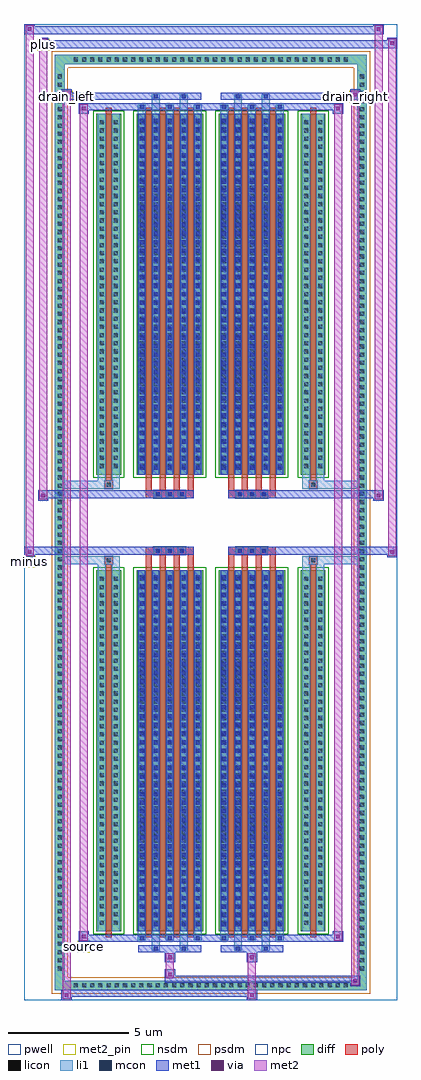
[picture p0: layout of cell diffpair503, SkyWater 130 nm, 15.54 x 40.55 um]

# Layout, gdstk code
import gdstk
lib = gdstk.Library(unit=1e-6, precision=5e-09)
def R(c, l, rs):  # rectangles x0, y0, x1, y1
    for r in rs: c.add(gdstk.rectangle(r[:2], r[2:], *l))
def A(c, l, x, y, w, h, nx, ny, dx, dy):  # array of equal rectangles
    R(c, l, [(x+i*dx, y+j*dy, x+i*dx+w, y+j*dy+h) for i in range(nx) for j in range(ny)])
def P(c, l, *ps):  # polygons
    for p in ps: c.add(gdstk.Polygon(p, *l))
pwell = (64, 44)
diff = (65, 20)
poly = (66, 20)
licon = (66, 44)
li1 = (67, 20)
mcon = (67, 44)
met1 = (68, 20)
via = (68, 44)
met2_pin = (69, 16)
met2 = (69, 20)
nsdm = (93, 44)
psdm = (94, 20)
npc = (95, 20)

diffpair503 = lib.new_cell('diffpair503')
R(diffpair503, pwell, [(-7.75,-19.84,7.75,20.71), (-5.07,-18.03,-0.01,-0.805), (0.01,-18.03,5.07,-0.805), (-5.07,0.805,-0.01,18.03), (0.01,0.805,5.07,18.03)])
A(diffpair503, diff, -5.815, -19.44, 0.41, 0.41, 34, 2, 0.34, 38.47)
A(diffpair503, diff, -6.48, -18.735, 0.41, 0.41, 1, 110, 0, 0.34)
A(diffpair503, diff, 6.07, -18.735, 0.41, 0.41, 1, 110, 0, 0.34)
R(diffpair503, diff, [(-5.815,-19.44,5.815,-19.03), (-6.48,-18.735,-6.07,18.735), (6.07,-18.735,6.48,18.735), (-4.76,-16.985,-3.73,-1.985), (-3.09,-16.985,-0.32,-1.985), (0.32,-16.985,3.09,-1.985), (3.73,-16.985,4.76,-1.985), (-4.76,1.985,-3.73,16.985), (-3.09,1.985,-0.32,16.985), (0.32,1.985,3.09,16.985), (3.73,1.985,4.76,16.985), (-5.815,19.03,5.815,19.44)])
P(diffpair503, diff, [(6.48,19.44),(-6.48,19.44),(-6.48,-19.03),(-6.07,-19.03),(-6.07,19.03),(6.07,19.03),(6.07,-19.03),(-6.07,-19.03),(-6.48,-19.03),(-6.48,-19.44),(6.48,-19.44)])
A(diffpair503, poly, -2.7, -17.235, 0.25, 15.5, 4, 2, 0.58, 18.97)
A(diffpair503, poly, 0.71, -17.235, 0.25, 15.5, 4, 2, 0.58, 18.97)
A(diffpair503, poly, -2.7, -1.735, 0.25, 0.4, 4, 2, 0.58, 3.07)
A(diffpair503, poly, 0.71, -1.735, 0.25, 0.4, 4, 2, 0.58, 3.07)
A(diffpair503, poly, -2.37, -1.335, 0.33, 0.33, 3, 2, 0.5, 2.34)
A(diffpair503, poly, 1.04, -1.335, 0.33, 0.33, 3, 2, 0.5, 2.34)
R(diffpair503, poly, [(-4.37,-17.235,-4.12,-1.735), (4.12,-17.235,4.37,-1.735), (-4.41,-1.735,-4.08,-1.405), (-4.41,-1.735,-4.08,-1.405), (4.08,-1.735,4.41,-1.405), (4.08,-1.735,4.41,-1.405), (-2.7,-1.335,-0.71,-1.005), (0.71,-1.335,2.7,-1.005), (-2.7,1.005,-0.71,1.335), (0.71,1.005,2.7,1.335), (-4.41,1.405,-4.08,1.735), (-4.41,1.405,-4.08,1.735), (4.08,1.405,4.41,1.735), (4.08,1.405,4.41,1.735), (-4.37,1.735,-4.12,17.235), (4.12,1.735,4.37,17.235)])
A(diffpair503, licon, -5.695, -19.32, 0.17, 0.17, 34, 2, 0.34, 38.47)
A(diffpair503, licon, -6.36, -18.615, 0.17, 0.17, 1, 110, 0, 0.34)
A(diffpair503, licon, 6.19, -18.615, 0.17, 0.17, 1, 110, 0, 0.34)
A(diffpair503, licon, -4.62, -16.71, 0.17, 0.17, 1, 43, 0, 0.34)
A(diffpair503, licon, -4.04, -16.71, 0.17, 0.17, 1, 43, 0, 0.34)
A(diffpair503, licon, -2.95, -16.71, 0.17, 0.17, 5, 43, 0.58, 0.34)
A(diffpair503, licon, 0.46, -16.71, 0.17, 0.17, 5, 43, 0.58, 0.34)
A(diffpair503, licon, 3.87, -16.71, 0.17, 0.17, 1, 43, 0, 0.34)
A(diffpair503, licon, 4.45, -16.71, 0.17, 0.17, 1, 43, 0, 0.34)
A(diffpair503, licon, -2.29, -1.255, 0.17, 0.17, 3, 2, 0.5, 2.34)
A(diffpair503, licon, 1.12, -1.255, 0.17, 0.17, 3, 2, 0.5, 2.34)
A(diffpair503, licon, -4.62, 2.26, 0.17, 0.17, 1, 43, 0, 0.34)
A(diffpair503, licon, -4.04, 2.26, 0.17, 0.17, 1, 43, 0, 0.34)
A(diffpair503, licon, -2.95, 2.26, 0.17, 0.17, 5, 43, 0.58, 0.34)
A(diffpair503, licon, 0.46, 2.26, 0.17, 0.17, 5, 43, 0.58, 0.34)
A(diffpair503, licon, 3.87, 2.26, 0.17, 0.17, 1, 43, 0, 0.34)
A(diffpair503, licon, 4.45, 2.26, 0.17, 0.17, 1, 43, 0, 0.34)
R(diffpair503, licon, [(-4.33,-1.655,-4.16,-1.485), (4.16,-1.655,4.33,-1.485), (-4.33,1.485,-4.16,1.655), (4.16,1.485,4.33,1.655)])
A(diffpair503, li1, -5.775, -19.4, 0.33, 0.33, 34, 2, 0.34, 38.47)
A(diffpair503, li1, -6.44, -18.695, 0.33, 0.33, 1, 110, 0, 0.34)
A(diffpair503, li1, 6.11, -18.695, 0.33, 0.33, 1, 110, 0, 0.34)
A(diffpair503, li1, -3.03, -17.36, 0.33, 0.375, 3, 2, 1.16, 34.345)
A(diffpair503, li1, -2.95, -17.36, 0.17, 0.17, 3, 2, 1.16, 34.55)
A(diffpair503, li1, 0.38, -17.36, 0.33, 0.375, 3, 2, 1.16, 34.345)
A(diffpair503, li1, 0.46, -17.36, 0.17, 0.17, 3, 2, 1.16, 34.55)
A(diffpair503, li1, -3.03, -16.985, 0.33, 15, 5, 2, 0.58, 18.97)
A(diffpair503, li1, 0.38, -16.985, 0.33, 15, 5, 2, 0.58, 18.97)
A(diffpair503, li1, -4.7, -16.79, 0.33, 0.33, 1, 43, 0, 0.34)
A(diffpair503, li1, -4.12, -16.79, 0.33, 0.33, 1, 43, 0, 0.34)
A(diffpair503, li1, -3.03, -16.79, 0.33, 0.33, 5, 43, 0.58, 0.34)
A(diffpair503, li1, 0.38, -16.79, 0.33, 0.33, 5, 43, 0.58, 0.34)
A(diffpair503, li1, 3.79, -16.79, 0.33, 0.33, 1, 43, 0, 0.34)
A(diffpair503, li1, 4.37, -16.79, 0.33, 0.33, 1, 43, 0, 0.34)
A(diffpair503, li1, -2.95, -16.77, 0.17, 0.17, 5, 41, 0.58, 0.36)
A(diffpair503, li1, -2.95, -16.77, 0.17, 14.57, 5, 2, 0.58, 18.97)
A(diffpair503, li1, 0.46, -16.77, 0.17, 0.17, 5, 41, 0.58, 0.36)
A(diffpair503, li1, 0.46, -16.77, 0.17, 14.57, 5, 2, 0.58, 18.97)
A(diffpair503, li1, -2.37, -1.335, 0.33, 0.33, 3, 2, 0.5, 2.34)
A(diffpair503, li1, 1.04, -1.335, 0.33, 0.33, 3, 2, 0.5, 2.34)
A(diffpair503, li1, -4.7, 2.18, 0.33, 0.33, 1, 43, 0, 0.34)
A(diffpair503, li1, -4.12, 2.18, 0.33, 0.33, 1, 43, 0, 0.34)
A(diffpair503, li1, -3.03, 2.18, 0.33, 0.33, 5, 43, 0.58, 0.34)
A(diffpair503, li1, 0.38, 2.18, 0.33, 0.33, 5, 43, 0.58, 0.34)
A(diffpair503, li1, 3.79, 2.18, 0.33, 0.33, 1, 43, 0, 0.34)
A(diffpair503, li1, 4.37, 2.18, 0.33, 0.33, 1, 43, 0, 0.34)
A(diffpair503, li1, -2.95, 2.2, 0.17, 0.17, 5, 41, 0.58, 0.36)
A(diffpair503, li1, 0.46, 2.2, 0.17, 0.17, 5, 41, 0.58, 0.36)
R(diffpair503, li1, [(-6.48,-19.44,-6.07,-19.03), (-6.48,-19.44,-6.07,-19.03), (-6.07,-19.44,6.07,-19.03), (6.07,-19.44,6.48,-19.03), (6.07,-19.44,6.48,-19.03), (-6.48,-19.03,-6.07,19.03), (6.07,-19.03,6.48,19.03), (-2.45,-17.79,-2.12,-16.985), (-2.37,-17.79,-2.2,-17.62), (-1.29,-17.79,-0.96,-16.985), (-1.21,-17.79,-1.04,-17.62), (0.96,-17.79,1.29,-16.985), (1.04,-17.79,1.21,-17.62), (2.12,-17.79,2.45,-16.985), (2.2,-17.79,2.37,-17.62), (-4.7,-16.985,-4.37,-1.985), (-4.12,-16.985,-3.79,-1.985), (3.79,-16.985,4.12,-1.985), (4.37,-16.985,4.7,-1.985), (-4.7,-1.985,-4.37,-1.405), (-4.12,-1.985,-3.79,-1.405), (3.79,-1.985,4.12,-1.405), (4.37,-1.985,4.7,-1.405), (-6.48,-1.735,-4.41,-1.405), (-4.7,-1.735,-4.41,-1.405), (-4.41,-1.735,-4.08,-1.405), (-4.08,-1.735,-3.79,-1.405), (3.79,-1.735,4.08,-1.405), (4.08,-1.735,4.41,-1.405), (4.08,-1.735,6.48,-1.405), (4.41,-1.735,4.7,-1.405), (-6.48,1.405,-4.41,1.735), (-4.7,1.405,-4.41,1.735), (-4.7,1.405,-4.37,1.985), (-4.41,1.405,-4.08,1.735), (-4.12,1.405,-3.79,1.985), (-4.08,1.405,-3.79,1.735), (3.79,1.405,4.08,1.735), (3.79,1.405,4.12,1.985), (4.08,1.405,4.41,1.735), (4.08,1.405,6.48,1.735), (4.37,1.405,4.7,1.985), (4.41,1.405,4.7,1.735), (-4.7,1.985,-4.37,16.985), (-4.12,1.985,-3.79,16.985), (3.79,1.985,4.12,16.985), (4.37,1.985,4.7,16.985), (-2.45,16.985,-2.12,17.79), (-1.29,16.985,-0.96,17.79), (0.96,16.985,1.29,17.79), (2.12,16.985,2.45,17.79), (-2.37,17.62,-2.2,17.79), (-1.21,17.62,-1.04,17.79), (1.04,17.62,1.21,17.79), (2.2,17.62,2.37,17.79), (-6.48,19.03,-6.07,19.44), (-6.48,19.03,-6.07,19.44), (-6.07,19.03,6.07,19.44), (6.07,19.03,6.48,19.44), (6.07,19.03,6.48,19.44)])
A(diffpair503, mcon, -2.95, -17.36, 0.17, 0.17, 3, 2, 1.16, 34.55)
A(diffpair503, mcon, 0.46, -17.36, 0.17, 0.17, 3, 2, 1.16, 34.55)
A(diffpair503, mcon, -2.95, -16.77, 0.17, 0.17, 5, 41, 0.58, 0.36)
A(diffpair503, mcon, 0.46, -16.77, 0.17, 0.17, 5, 41, 0.58, 0.36)
A(diffpair503, mcon, -2.29, -1.255, 0.17, 0.17, 3, 2, 0.5, 2.34)
A(diffpair503, mcon, 1.12, -1.255, 0.17, 0.17, 3, 2, 0.5, 2.34)
A(diffpair503, mcon, -2.95, 2.2, 0.17, 0.17, 5, 41, 0.58, 0.36)
A(diffpair503, mcon, 0.46, 2.2, 0.17, 0.17, 5, 41, 0.58, 0.36)
R(diffpair503, mcon, [(-2.37,-17.79,-2.2,-17.62), (-1.21,-17.79,-1.04,-17.62), (1.04,-17.79,1.21,-17.62), (2.2,-17.79,2.37,-17.62), (-2.37,17.62,-2.2,17.79), (-1.21,17.62,-1.04,17.79), (1.04,17.62,1.21,17.79), (2.2,17.62,2.37,17.79)])
A(diffpair503, met1, -3.01, -17.42, 0.29, 0.29, 3, 2, 1.16, 34.55)
A(diffpair503, met1, 0.4, -17.42, 0.29, 0.29, 3, 2, 1.16, 34.55)
A(diffpair503, met1, -3.01, -16.985, 0.29, 15, 5, 2, 0.58, 18.97)
A(diffpair503, met1, 0.4, -16.985, 0.29, 15, 5, 2, 0.58, 18.97)
A(diffpair503, met1, -3.01, -16.83, 0.29, 0.29, 5, 41, 0.58, 0.36)
A(diffpair503, met1, 0.4, -16.83, 0.29, 0.29, 5, 41, 0.58, 0.36)
A(diffpair503, met1, -2.35, -1.315, 0.29, 0.29, 3, 2, 0.5, 2.34)
A(diffpair503, met1, 1.06, -1.315, 0.29, 0.29, 3, 2, 0.5, 2.34)
A(diffpair503, met1, -3.01, 2.14, 0.29, 0.29, 5, 41, 0.58, 0.36)
A(diffpair503, met1, 0.4, 2.14, 0.29, 0.29, 5, 41, 0.58, 0.36)
R(diffpair503, met1, [(-6.21,-19.84,-5.78,-19.41), (1.49,-19.84,1.92,-19.41), (-6.21,-19.7,1.92,-19.41), (5.78,-19.27,6.21,-18.84), (-1.92,-19.13,6.21,-18.84), (-1.92,-18.99,-1.49,-18.56), (-1.92,-18.28,-1.49,-17.85), (1.49,-18.28,1.92,-17.85), (-3.01,-17.85,-0.4,-17.56), (-2.43,-17.85,-2.14,-17.56), (-1.27,-17.85,-0.98,-17.56), (0.4,-17.85,3.01,-17.56), (0.98,-17.85,1.27,-17.56), (2.14,-17.85,2.43,-17.56), (-5.5,-17.42,-5.07,-16.99), (-5.5,-17.42,-3.01,-17.13), (-3.01,-17.42,-0.4,-17.13), (-0.4,-17.42,0.4,-17.13), (0.4,-17.42,3.01,-17.13), (3.01,-17.42,5.5,-17.13), (5.07,-17.42,5.5,-16.99), (-7.75,-1.435,-7.32,-1.005), (7.32,-1.435,7.75,-1.005), (-7.75,-1.335,-0.71,-1.005), (-2.7,-1.335,-0.71,-1.005), (0.71,-1.335,2.7,-1.005), (0.71,-1.335,7.75,-1.005), (-7.18,0.905,-6.75,1.335), (6.75,0.905,7.18,1.335), (-7.18,1.005,-2.7,1.335), (-2.7,1.005,-0.71,1.335), (0.71,1.005,2.7,1.335), (2.7,1.005,7.18,1.335), (-5.5,16.99,-5.07,17.42), (5.07,16.99,5.5,17.42), (-5.5,17.13,-3.01,17.42), (-3.01,17.13,-0.4,17.42), (-0.4,17.13,0.4,17.42), (0.4,17.13,3.01,17.42), (3.01,17.13,5.5,17.42), (-6.21,17.56,-5.78,17.99), (-6.21,17.56,-3.01,17.85), (-3.01,17.56,-0.4,17.85), (-2.43,17.56,-2.14,17.85), (-1.27,17.56,-0.98,17.85), (0.4,17.56,3.01,17.85), (0.98,17.56,1.27,17.85), (2.14,17.56,2.43,17.85), (3.01,17.56,6.21,17.85), (5.78,17.56,6.21,17.99), (-7.18,19.71,-6.75,20.14), (-7.18,19.71,-5.07,20.04), (-5.07,19.71,5.07,20.04), (5.07,19.71,7.75,20.04), (7.32,19.71,7.75,20.14), (-7.75,20.28,-7.32,20.71), (-7.75,20.28,-5.07,20.61), (-5.07,20.28,5.07,20.61), (5.07,20.28,7.18,20.61), (6.75,20.28,7.18,20.71)])
R(diffpair503, via, [(-6.07,-19.7,-5.92,-19.55), (1.63,-19.7,1.78,-19.55), (5.92,-19.13,6.07,-18.98), (-1.78,-18.85,-1.63,-18.7), (-1.78,-18.14,-1.63,-17.99), (1.63,-18.14,1.78,-17.99), (-5.36,-17.28,-5.21,-17.13), (5.21,-17.28,5.36,-17.13), (-7.61,-1.295,-7.46,-1.145), (7.46,-1.295,7.61,-1.145), (-7.04,1.045,-6.89,1.195), (6.89,1.045,7.04,1.195), (-5.36,17.13,-5.21,17.28), (5.21,17.13,5.36,17.28), (-6.07,17.7,-5.92,17.85), (5.92,17.7,6.07,17.85), (-7.04,19.85,-6.89,20), (7.46,19.85,7.61,20), (-7.61,20.42,-7.46,20.57), (6.89,20.42,7.04,20.57)])
R(diffpair503, met2_pin, [(-5.535,-17.87,-5.035,-17.37), (-7.785,-1.885,-7.285,-1.385), (-6.245,17.44,-5.745,17.94), (5.745,17.44,6.245,17.94), (-7.215,19.59,-6.715,20.09)])
R(diffpair503, met2, [(-6.16,-19.79,-5.83,-19.46), (-6.16,-19.79,-5.83,17.94), (1.54,-19.79,1.87,-19.46), (1.54,-19.46,1.87,-18.23), (5.83,-19.22,6.16,-18.89), (5.83,-19.22,6.16,17.94), (-1.87,-18.94,-1.54,-18.61), (-1.87,-18.61,-1.54,-18.23), (-1.87,-18.23,-1.54,-17.9), (1.54,-18.23,1.87,-17.9), (-5.45,-17.37,-5.12,-17.04), (-5.45,-17.37,-5.12,17.37), (5.12,-17.37,5.45,-17.04), (5.12,-17.37,5.45,17.37), (-7.7,-1.385,-7.37,-1.055), (-7.7,-1.385,-7.37,20.66), (7.37,-1.385,7.7,-1.055), (7.37,-1.385,7.7,20.09), (-7.13,0.955,-6.8,1.285), (-7.13,0.955,-6.8,20.09), (6.8,0.955,7.13,1.285), (6.8,0.955,7.13,20.66), (-5.45,17.04,-5.12,17.37), (5.12,17.04,5.45,17.37), (-6.16,17.61,-5.83,17.94), (5.83,17.61,6.16,17.94), (-7.13,19.76,-6.8,20.09), (7.37,19.76,7.7,20.09), (-7.7,20.33,-7.37,20.66), (6.8,20.33,7.13,20.66)])
P(diffpair503, met2, [(7.7,-1.385),(7.7,-1.385),(7.7,-1.055),(7.7,-1.055)],
  [(7.7,19.76),(7.7,19.76),(7.7,20.09),(7.7,20.09)],
  [(-7.37,-1.385),(-7.37,-1.385),(-7.37,-1.055),(-7.37,-1.055)],
  [(-7.37,20.33),(-7.37,20.33),(-7.37,20.66),(-7.37,20.66)],
  [(7.13,0.955),(7.13,0.955),(7.13,1.285),(7.13,1.285)],
  [(7.13,20.33),(7.13,20.33),(7.13,20.66),(7.13,20.66)],
  [(-6.8,0.955),(-6.8,0.955),(-6.8,1.285),(-6.8,1.285)],
  [(-6.8,19.76),(-6.8,19.76),(-6.8,20.09),(-6.8,20.09)],
  [(-5.83,-19.79),(-5.83,-19.79),(-5.83,-19.46),(-5.83,-19.46)],
  [(-5.83,17.61),(-5.83,17.61),(-5.83,17.94),(-5.83,17.94)],
  [(6.16,-19.22),(6.16,-19.22),(6.16,-18.89),(6.16,-18.89)],
  [(6.16,17.61),(6.16,17.61),(6.16,17.94),(6.16,17.94)],
  [(-5.12,-17.37),(-5.12,-17.37),(-5.12,-17.04),(-5.12,-17.04)],
  [(-5.12,17.04),(-5.12,17.04),(-5.12,17.37),(-5.12,17.37)],
  [(5.45,-17.37),(5.45,-17.37),(5.45,-17.04),(5.45,-17.04)],
  [(5.45,17.04),(5.45,17.04),(5.45,17.37),(5.45,17.37)])
R(diffpair503, nsdm, [(-4.89,-17.115,-3.6,-1.855), (-3.22,-17.115,-0.19,-1.855), (0.19,-17.115,3.22,-1.855), (3.6,-17.115,4.89,-1.855), (-4.89,1.855,-3.6,17.115), (-3.22,1.855,-0.19,17.115), (0.19,1.855,3.22,17.115), (3.6,1.855,4.89,17.115)])
P(diffpair503, psdm, [(6.61,19.57),(-6.61,19.57),(-6.61,-18.9),(-5.94,-18.9),(-5.94,18.9),(5.94,18.9),(5.94,-18.9),(-5.94,-18.9),(-6.61,-18.9),(-6.61,-19.57),(6.61,-19.57)])
A(diffpair503, npc, -2.39, -1.355, 0.37, 0.37, 3, 2, 0.5, 2.34)
A(diffpair503, npc, 1.02, -1.355, 0.37, 0.37, 3, 2, 0.5, 2.34)
R(diffpair503, npc, [(-4.43,-1.755,-4.06,-1.385), (4.06,-1.755,4.43,-1.385), (-2.39,-1.355,-1.52,-0.985), (-2.39,-1.355,-1.52,-0.985), (-1.89,-1.355,-1.02,-0.985), (-1.89,-1.355,-1.02,-0.985), (1.02,-1.355,1.89,-0.985), (1.02,-1.355,1.89,-0.985), (1.52,-1.355,2.39,-0.985), (1.52,-1.355,2.39,-0.985), (-2.39,0.985,-1.52,1.355), (-2.39,0.985,-1.52,1.355), (-1.89,0.985,-1.02,1.355), (-1.89,0.985,-1.02,1.355), (1.02,0.985,1.89,1.355), (1.02,0.985,1.89,1.355), (1.52,0.985,2.39,1.355), (1.52,0.985,2.39,1.355), (-4.43,1.385,-4.06,1.755), (4.06,1.385,4.43,1.755)])
diffpair503.add(gdstk.Label('minus', (-7.535,-1.635), layer=69, texttype=5))
diffpair503.add(gdstk.Label('drain_right', (5.995,17.69), layer=69, texttype=5))
diffpair503.add(gdstk.Label('drain_left', (-5.995,17.69), layer=69, texttype=5))
diffpair503.add(gdstk.Label('source', (-5.285,-17.62), layer=69, texttype=5))
diffpair503.add(gdstk.Label('plus', (-6.965,19.84), layer=69, texttype=5))

lib.write_gds('diffpair503.gds')
